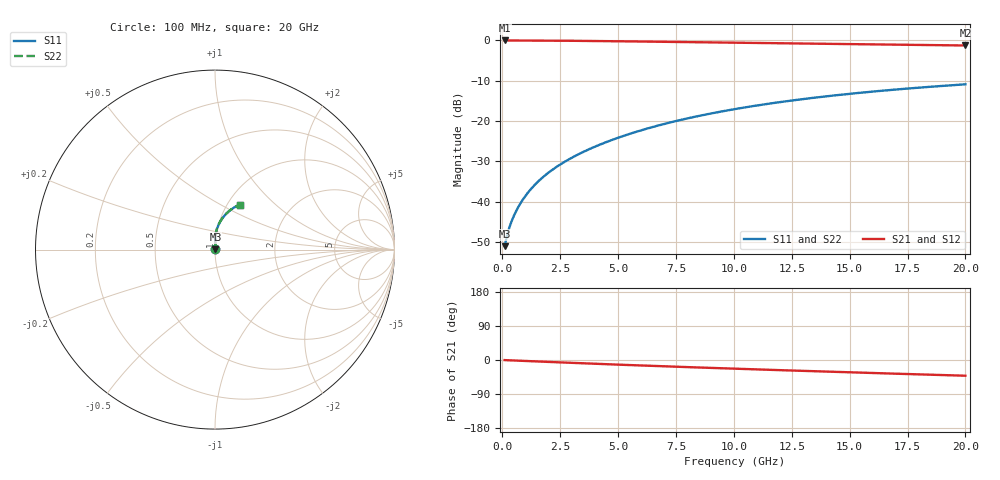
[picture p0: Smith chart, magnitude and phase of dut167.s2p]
! Touchstone file exported from HFSS 2024.1.0
!  File:  C:/UserFiles/LocalFiles/RDL_TSV_Batchsim/temp_RDL_top_167_1778685693.aedt
!  Generated:  11:23:29 PM May 13, 2026
!  Design:  RDL_top
!  Project:  temp_RDL_top_167_1778685693
!  Setup:  Setup1
!  Solution:  Sweep
! Variables:
!  dtsv = 10.80580581um
!  hbump = 3um
!  htsv = 93.28um
!  ldown = 100um
!  lrdl = 654.03um
!  p = 40
!  p1 = 44.48um
!  rhole = 1um
!  t = 450um
!  tdown = 3.915915916um
!  trdl = 4.06um
!  wdown = 15.38538539um
!  wrdl = 25.87um
# GHz S MA R 50.000000
! Terminal data exported
! Port[1] = Box2_T1
! Port[2] = Box2_T2
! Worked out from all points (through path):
!   200 points, 100 MHz to 20 GHz, reference 50 ohm
!   highest |S21| = -0.02 dB at 100 MHz (marker M1); lowest = -1.3 dB at 20 GHz (marker M2)
!   group delay of S21, straight-line fit = 5.69 ps
!   lowest |S11| = -51.0 dB at 100 MHz (marker M3), VSWR 1.01, Z = 50.2 + j0.141 ohm
!   |S11| at or under -10 dB: start of sweep to end of sweep
!   |S22| runs from -51.0 to -10.9 dB; largest |S21 - S12| = 2.6e-15
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0.1  0.002817 29.9  0.9975 -0.3  0.9975 -0.3  0.002817 29.9
! Gamma 0 0 0 0
! Port Impedance 50 0 50 0
0.2  0.003756 45.3  0.9973 -0.5  0.9973 -0.5  0.003756 45.3
0.3  0.004743 53.6  0.9971 -0.8  0.9971 -0.8  0.004744 53.6
0.4  0.005717 59.1  0.9968 -1.0  0.9968 -1.0  0.005719 59.1
0.5  0.006694 63.3  0.9967 -1.3  0.9967 -1.3  0.006696 63.3
0.6  0.007685 66.7  0.9965 -1.6  0.9965 -1.6  0.007686 66.7
0.8  0.009719 71.7  0.9961 -2.1  0.9961 -2.1  0.00972 71.7
1  0.01182 75.2  0.9957 -2.6  0.9957 -2.6  0.01182 75.2
1.2  0.01397 77.8  0.9952 -3.1  0.9952 -3.1  0.01397 77.8
1.7  0.01954 82.1  0.9937 -4.3  0.9937 -4.3  0.01954 82.1
2.2  0.02535 84.6  0.9918 -5.6  0.9918 -5.6  0.02535 84.6
2.8  0.03261 86.5  0.9889 -7.0  0.9889 -7.0  0.03262 86.6
3.5  0.04152 87.8  0.985 -8.7  0.985 -8.7  0.04153 87.8
4.2  0.05089 88.4  0.9805 -10.4  0.9805 -10.4  0.05091 88.4
5  0.06212 88.5  0.9749 -12.2  0.9749 -12.2  0.06216 88.5
6.8  0.08911 87.1  0.9613 -16.2  0.9613 -16.2  0.08919 87.2
8.4  0.1144 84.7  0.9487 -19.6  0.9487 -19.6  0.1145 84.8
10.1  0.1416 81.6  0.9355 -23.1  0.9355 -23.1  0.1418 81.7
11.7  0.1672 78.4  0.9233 -26.2  0.9233 -26.2  0.1674 78.4
13.4  0.1936 74.8  0.9107 -29.5  0.9107 -29.5  0.1939 74.9
16.7  0.2419 67.9  0.887 -35.6  0.887 -35.6  0.2423 67.9
20  0.2853 61.2  0.8642 -41.5  0.8642 -41.5  0.2858 61.3
